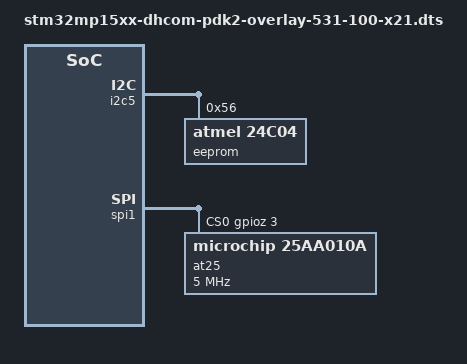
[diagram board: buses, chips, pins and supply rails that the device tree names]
// SPDX-License-Identifier: (GPL-2.0+ OR BSD-3-Clause)
/*
 * Copyright (C) 2020 Marek Vasut <marex@denx.de>
 */
/dts-v1/;
/plugin/;

&i2c5 {
	#address-cells = <1>;
	#size-cells = <0>;

	eeprom@56 {
		compatible = "atmel,24c04";
		reg = <0x56>;
		pagesize = <16>;
	};
};

&spi1 {
	pinctrl-names = "default";
	pinctrl-0 = <&spi1_pins_a>;
	status = "okay";
	cs-gpios = <&gpioz 3 0>;
	/* Use PIO for the 128 Byte SPI EEPROM */
	dmas;
	dma-names;
	#address-cells = <1>;
	#size-cells = <0>;

	at25@0 {
		compatible = "microchip,25aa010a", "atmel,at25";
		reg = <0>;
		spi-max-frequency = <5000000>;

		at25,byte-len = <128>;
		at25,addr-mode = <1>;
		at25,page-size = <16>;
	};
};
